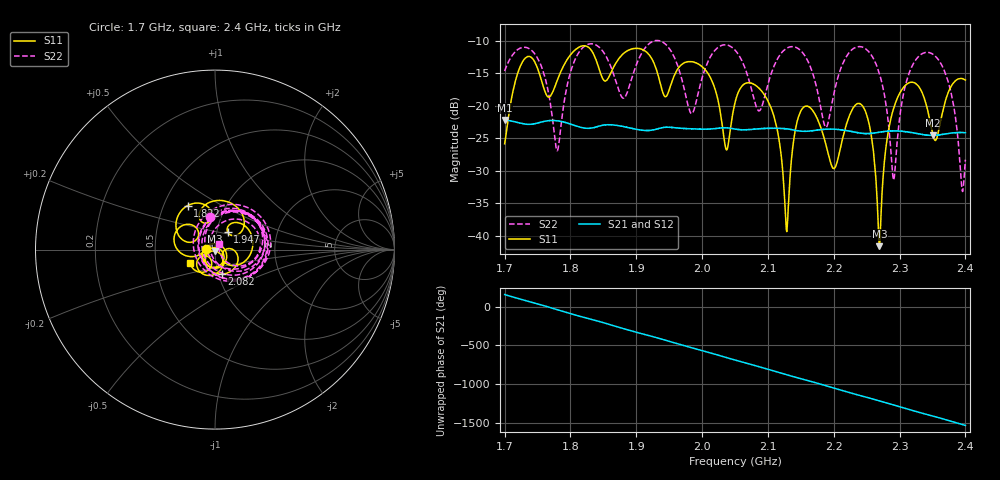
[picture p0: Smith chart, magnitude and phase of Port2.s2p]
# Hz S RI R 50
! CMT, CMT808U, 21440046, 21.4.3/4
! Date: 9/9/2026 12:48:39 AM
! Data: Format (Calibration Info)
! Freq	S11:Re/Im(F2)	S41:Re/Im(F2)	S14:Re/Im(F2)	S44:Re/Im(F2)
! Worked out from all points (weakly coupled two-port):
!   3001 points, 1.7 GHz to 2.4 GHz, reference 50 ohm
!   highest |S21| = -22.18 dB at 1.7 GHz (marker M1); lowest = -24.6 dB at 2.351 GHz (marker M2)
!   lowest |S11| = -41.6 dB at 2.269 GHz (marker M3), VSWR 1.02, Z = 49.8 - j0.813 ohm
!   |S11| at or under -10 dB: start of sweep to end of sweep
!   |S22| runs from -33.2 to -10.0 dB; largest |S21 - S12| = 0.0011
!   S11 on the Smith chart (normalised r, x): 1.7 GHz: 0.90, +0.01; 1.822 GHz: 0.66, +0.35; 1.947 GHz: 1.13, +0.23; 2.082 GHz: 1.04, -0.29; 2.4 GHz: 0.75, -0.11
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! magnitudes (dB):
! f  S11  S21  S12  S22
! 1.7 GHz  -25.9  -22.2  -22.2  -14.7
! 1.747 GHz  -13.5  -22.7  -22.8  -12.2
! 1.78 GHz  -16.1  -22.3  -22.4  -26.9
! 1.817 GHz  -10.8  -23.3  -23.4  -11.3
! 1.822 GHz  -10.8  -23.4  -23.5  -10.8
! 1.881 GHz  -12.0  -23.2  -23.2  -18.8
! 1.934 GHz  -15.4  -23.5  -23.5  -10.0
! 1.947 GHz  -18.3  -23.3  -23.3  -10.8
! 1.984 GHz  -13.2  -23.5  -23.6  -21.2
! 2.037 GHz  -26.8  -23.4  -23.4  -10.6
! 2.05 GHz  -19.5  -23.6  -23.6  -11.4
! 2.082 GHz  -16.9  -23.6  -23.6  -20.1
! 2.128 GHz  -39.3  -23.6  -23.6  -11.2
! 2.167 GHz  -20.6  -23.8  -23.9  -14.6
! 2.189 GHz  -26.2  -23.6  -23.6  -23.3
! 2.245 GHz  -20.2  -24.3  -24.3  -11.0
! 2.269 GHz  -41.6  -24.1  -24.1  -15.0
! 2.284 GHz  -23.6  -23.9  -23.9  -23.2
! 2.292 GHz  -20.2  -23.9  -23.9  -31.3
! 2.313 GHz  -16.5  -24.1  -24.1  -15.4
! 2.351 GHz  -24.6  -24.6  -24.6  -12.1
! 2.4 GHz  -16.1  -24.2  -24.2  -28.3
